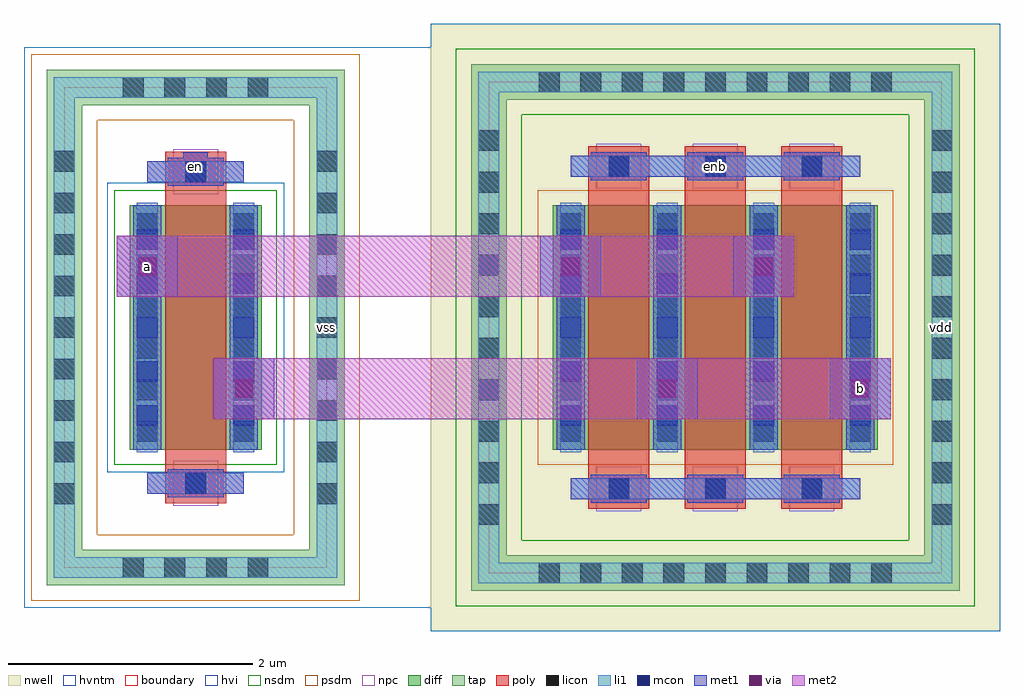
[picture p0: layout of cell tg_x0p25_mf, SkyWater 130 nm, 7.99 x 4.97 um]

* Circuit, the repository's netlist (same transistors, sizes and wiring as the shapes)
* Schematic of the transmission gate at TG scale 0.25 (nfet 2/0.5, pfet 6/0.5, one device each, nf=1 as simulated)
.subckt tg_x0p25_mf a b en enb vdd vss
XMN a en b vss sky130_fd_pr__nfet_g5v0d10v5 w=2 l=0.5 nf=1
XMP a enb b vdd sky130_fd_pr__pfet_g5v0d10v5 w=6 l=0.5 nf=1
.ends

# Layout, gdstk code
import gdstk
lib = gdstk.Library(unit=1e-6, precision=1e-09)
def R(c, l, rs):  # rectangles x0, y0, x1, y1
    for r in rs: c.add(gdstk.rectangle(r[:2], r[2:], *l))
def A(c, l, x, y, w, h, nx, ny, dx, dy):  # array of equal rectangles
    R(c, l, [(x+i*dx, y+j*dy, x+i*dx+w, y+j*dy+h) for i in range(nx) for j in range(ny)])
nwell = (64, 20)
diff = (65, 20)
tap = (65, 44)
poly = (66, 20)
licon = (66, 44)
li1 = (67, 20)
mcon = (67, 44)
met1 = (68, 20)
via = (68, 44)
met2 = (69, 20)
hvi = (75, 20)
nsdm = (93, 44)
psdm = (94, 20)
npc = (95, 20)
hvntm = (125, 20)
boundary = (235, 4)

sky130_fd_pr__pfet_g5v0d = lib.new_cell('sky130_fd_pr__pfet_g5v0d10v5_DCBGND')
R(sky130_fd_pr__pfet_g5v0d, nwell, [(-2.33,-2.485,2.33,2.485)])
R(sky130_fd_pr__pfet_g5v0d, diff, [(-1.33,-1,1.33,1)])
R(sky130_fd_pr__pfet_g5v0d, tap, [(-2,-2.155,2,-1.865), (-2,-1.865,-1.71,1.865), (1.71,-1.865,2,1.865), (-2,1.865,2,2.155)])
A(sky130_fd_pr__pfet_g5v0d, poly, -1.04, -1.485, 0.5, 2.97, 3, 1, 0.79, 0)
A(sky130_fd_pr__pfet_g5v0d, licon, -1.445, -2.095, 0.17, 0.17, 9, 2, 0.34, 4.02)
A(sky130_fd_pr__pfet_g5v0d, licon, -1.94, -1.615, 0.17, 0.17, 1, 10, 0, 0.34)
A(sky130_fd_pr__pfet_g5v0d, licon, 1.77, -1.615, 0.17, 0.17, 1, 10, 0, 0.34)
A(sky130_fd_pr__pfet_g5v0d, licon, -0.875, -1.405, 0.17, 0.17, 3, 2, 0.79, 2.64)
A(sky130_fd_pr__pfet_g5v0d, licon, -1.27, -0.935, 0.17, 0.17, 4, 6, 0.79, 0.34)
A(sky130_fd_pr__pfet_g5v0d, li1, -1.27, -1.02, 0.17, 2.04, 4, 1, 0.79, 0)
R(sky130_fd_pr__pfet_g5v0d, li1, [(-1.94,-2.095,1.94,-1.925), (-1.94,-1.925,-1.77,1.925), (1.77,-1.925,1.94,1.925), (-1.185,-1.405,1.185,-1.235), (-1.185,1.235,1.185,1.405), (-1.94,1.925,1.94,2.095)])
A(sky130_fd_pr__pfet_g5v0d, mcon, -0.875, -1.405, 0.17, 0.17, 3, 2, 0.79, 2.64)
A(sky130_fd_pr__pfet_g5v0d, mcon, -1.27, -0.805, 0.17, 0.17, 4, 5, 0.79, 0.36)
A(sky130_fd_pr__pfet_g5v0d, met1, -1.02, -1.435, 0.46, 0.03, 3, 2, 0.79, 0.2)
A(sky130_fd_pr__pfet_g5v0d, met1, -1.3, -1, 0.23, 2, 4, 1, 0.79, 0)
A(sky130_fd_pr__pfet_g5v0d, met1, -1.02, 1.205, 0.46, 0.03, 3, 2, 0.79, 0.2)
R(sky130_fd_pr__pfet_g5v0d, met1, [(-1.185,-1.405,1.185,-1.235), (-1.185,1.235,1.185,1.405)])
R(sky130_fd_pr__pfet_g5v0d, hvi, [(-2.33,-2.485,2.33,2.485)])
R(sky130_fd_pr__pfet_g5v0d, nsdm, [(-2.125,-2.28,2.125,-1.74), (-2.125,-1.74,-1.585,1.74), (1.585,-1.74,2.125,1.74), (-2.125,1.74,2.125,2.28)])
R(sky130_fd_pr__pfet_g5v0d, psdm, [(-1.455,-1.125,1.455,1.125)])
A(sky130_fd_pr__pfet_g5v0d, npc, -0.975, -1.505, 0.37, 0.37, 3, 2, 0.79, 2.64)
R(sky130_fd_pr__pfet_g5v0d, boundary, [(-1.855,-2.01,1.855,2.01)])
sky130_fd_pr__pfet_g5v0d.add(gdstk.Label('B', (0,-2.01), layer=67, texttype=5))
sky130_fd_pr__pfet_g5v0d.add(gdstk.Label('D0', (-1.185,0), layer=67, texttype=5))
sky130_fd_pr__pfet_g5v0d.add(gdstk.Label('G', (0.79,1.32), layer=67, texttype=5))
sky130_fd_pr__pfet_g5v0d.add(gdstk.Label('G', (0,1.32), layer=67, texttype=5))
sky130_fd_pr__pfet_g5v0d.add(gdstk.Label('G', (-0.79,1.32), layer=67, texttype=5))
sky130_fd_pr__pfet_g5v0d.add(gdstk.Label('S1', (-0.395,0), layer=67, texttype=5))
sky130_fd_pr__pfet_g5v0d.add(gdstk.Label('D2', (0.395,0), layer=67, texttype=5))
sky130_fd_pr__pfet_g5v0d.add(gdstk.Label('S2', (1.185,0), layer=67, texttype=5))

sky130_fd_pr__nfet_g5v0d = lib.new_cell('sky130_fd_pr__nfet_g5v0d10v5_XX2EF7')
R(sky130_fd_pr__nfet_g5v0d, diff, [(-0.54,-1,0.54,1)])
R(sky130_fd_pr__nfet_g5v0d, tap, [(-1.22,-2.11,1.22,-1.82), (-1.22,-1.82,-0.93,1.82), (0.93,-1.82,1.22,1.82), (-1.22,1.82,1.22,2.11)])
R(sky130_fd_pr__nfet_g5v0d, poly, [(-0.25,-1.44,0.25,1.44)])
A(sky130_fd_pr__nfet_g5v0d, licon, -0.595, -2.05, 0.17, 0.17, 4, 2, 0.34, 3.93)
A(sky130_fd_pr__nfet_g5v0d, licon, -1.16, -1.445, 0.17, 0.17, 1, 9, 0, 0.34)
A(sky130_fd_pr__nfet_g5v0d, licon, 0.99, -1.445, 0.17, 0.17, 1, 9, 0, 0.34)
A(sky130_fd_pr__nfet_g5v0d, licon, -0.48, -0.935, 0.17, 0.17, 1, 6, 0, 0.34)
A(sky130_fd_pr__nfet_g5v0d, licon, 0.31, -0.935, 0.17, 0.17, 1, 6, 0, 0.34)
R(sky130_fd_pr__nfet_g5v0d, licon, [(-0.085,-1.36,0.085,-1.19), (-0.085,1.19,0.085,1.36)])
R(sky130_fd_pr__nfet_g5v0d, li1, [(-1.16,-2.05,1.16,-1.88), (-1.16,-1.88,-0.99,1.88), (0.99,-1.88,1.16,1.88), (-0.395,-1.36,0.395,-1.19), (-0.48,-1.02,-0.31,1.02), (0.31,-1.02,0.48,1.02), (-0.395,1.19,0.395,1.36), (-1.16,1.88,1.16,2.05)])
A(sky130_fd_pr__nfet_g5v0d, mcon, -0.48, -0.805, 0.17, 0.17, 1, 5, 0, 0.36)
A(sky130_fd_pr__nfet_g5v0d, mcon, 0.31, -0.805, 0.17, 0.17, 1, 5, 0, 0.36)
R(sky130_fd_pr__nfet_g5v0d, mcon, [(-0.085,-1.36,0.085,-1.19), (-0.085,1.19,0.085,1.36)])
R(sky130_fd_pr__nfet_g5v0d, met1, [(-0.23,-1.39,0.23,-1.36), (-0.395,-1.36,0.395,-1.19), (-0.23,-1.19,0.23,-1.16), (-0.51,-1,-0.28,1), (0.28,-1,0.51,1), (-0.23,1.16,0.23,1.19), (-0.395,1.19,0.395,1.36), (-0.23,1.36,0.23,1.39)])
R(sky130_fd_pr__nfet_g5v0d, hvi, [(-1.405,-2.295,1.405,2.295)])
R(sky130_fd_pr__nfet_g5v0d, nsdm, [(-0.665,-1.125,0.665,1.125)])
R(sky130_fd_pr__nfet_g5v0d, psdm, [(-1.345,-2.235,1.345,-1.695), (-1.345,-1.695,-0.805,1.695), (0.805,-1.695,1.345,1.695), (-1.345,1.695,1.345,2.235)])
R(sky130_fd_pr__nfet_g5v0d, npc, [(-0.185,-1.46,0.185,-1.09), (-0.185,1.09,0.185,1.46)])
R(sky130_fd_pr__nfet_g5v0d, hvntm, [(-0.725,-1.185,0.725,1.185)])
R(sky130_fd_pr__nfet_g5v0d, boundary, [(-1.075,-1.965,1.075,1.965)])
sky130_fd_pr__nfet_g5v0d.add(gdstk.Label('B', (0,-1.965), layer=67, texttype=5))
sky130_fd_pr__nfet_g5v0d.add(gdstk.Label('D', (-0.395,0), layer=67, texttype=5))
sky130_fd_pr__nfet_g5v0d.add(gdstk.Label('S', (0.395,0), layer=67, texttype=5))
sky130_fd_pr__nfet_g5v0d.add(gdstk.Label('G', (0,1.275), layer=67, texttype=5))

tg_x0p25_mf = lib.new_cell('tg_x0p25_mf')
R(tg_x0p25_mf, li1, [(2.075,1.765,2.225,2.165), (7.11,1.765,7.26,2.165)])
R(tg_x0p25_mf, met1, [(1.22,1.215,1.72,1.715), (4.685,1.215,5.185,1.715), (6.265,1.215,6.765,1.715), (0.43,2.215,0.93,2.715), (3.895,2.215,4.395,2.715), (5.475,2.215,5.975,2.715), (0.975,3.17,1.175,3.4), (5.23,3.17,5.43,3.4)])
R(tg_x0p25_mf, via, [(1.395,1.39,1.545,1.54), (4.86,1.39,5.01,1.54), (6.44,1.39,6.59,1.54), (0.605,2.39,0.755,2.54), (4.07,2.39,4.22,2.54), (5.65,2.39,5.8,2.54)])
R(tg_x0p25_mf, met2, [(1.22,1.215,6.765,1.715), (0.43,2.215,5.975,2.715)])
R(tg_x0p25_mf, hvi, [(2.48,-0.33,3,4.26)])
tg_x0p25_mf.add(gdstk.Reference(sky130_fd_pr__pfet_g5v0d, (5.33,1.965)))
tg_x0p25_mf.add(gdstk.Reference(sky130_fd_pr__nfet_g5v0d, (1.075,1.965)))
tg_x0p25_mf.add(gdstk.Label('a', (0.68,2.465), layer=69, texttype=5))
tg_x0p25_mf.add(gdstk.Label('b', (6.515,1.465), layer=69, texttype=5))
tg_x0p25_mf.add(gdstk.Label('en', (1.075,3.285), layer=68, texttype=5))
tg_x0p25_mf.add(gdstk.Label('enb', (5.33,3.285), layer=68, texttype=5))
tg_x0p25_mf.add(gdstk.Label('vss', (2.15,1.965), layer=67, texttype=5))
tg_x0p25_mf.add(gdstk.Label('vdd', (7.185,1.965), layer=67, texttype=5))

lib.write_gds('tg_x0p25_mf.gds')
